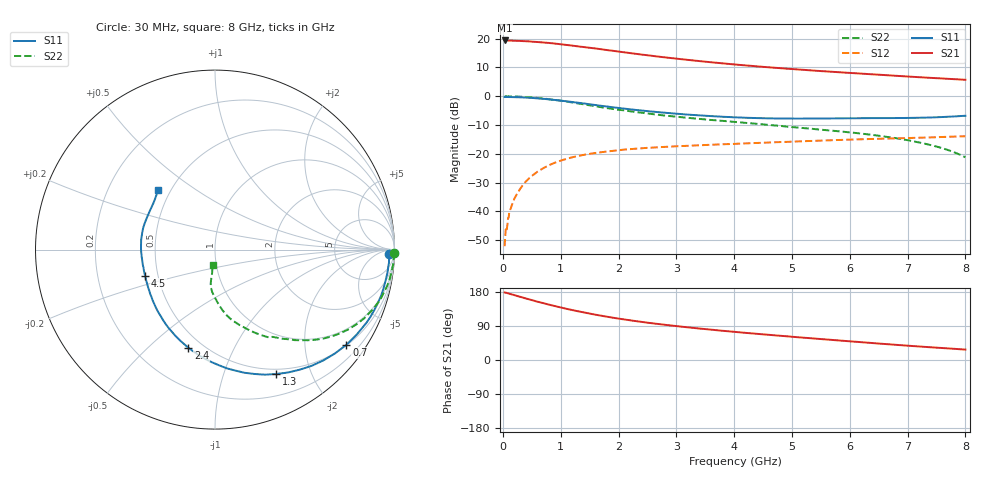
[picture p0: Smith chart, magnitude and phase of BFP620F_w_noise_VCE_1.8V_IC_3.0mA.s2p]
! Infineon Technologies  Discrete & RF Semiconductors
! BFP620F
! VCE =  1.8 V,  IC =  3.0 mA
! Common Emitter S-Parameters:  Dec 2014
# GHz  S  MA  R  50
!  f  S11  S21  S12  S22
! GHz  MAG  ANG  MAG  ANG  MAG  ANG  MAG  ANG
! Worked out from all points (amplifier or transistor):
!   95 points, 30 MHz to 8 GHz, reference 50 ohm
!   highest |S21| = 19.4 dB at 30 MHz (marker M1)
!   |S21| within 3 dB of that: start of sweep to 1.681 GHz
!   unconditionally stable (mu >= 1): 6.053 GHz to end of sweep
!   at 300 MHz: K = 0.03, MSG = 25.7 dB, |S12| = -32.1 dB
!   at 3.3 GHz: K = 0.69, MSG = 14.8 dB, |S12| = -17.1 dB
!   at 8 GHz: K = 1.15, MAG = 7.4 dB, |S12| = -13.9 dB
!   lowest NFmin = 0.51 dB at 450 MHz
!   S11 on the Smith chart (normalised r, x): 30 MHz: 38, -34; 700 MHz: 0.52, -3.01; 1.3 GHz: 0.44, -1.52; 2.4 GHz: 0.42, -0.68; 4.5 GHz: 0.42, -0.15; 8 GHz: 0.43, +0.36
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0.03  0.9714 -1.5  9.318 178.2  0.0025 80.9  0.9985 -1.1
0.04  0.9723 -2.0  9.211 177.8  0.0036 84.7  0.9979 -1.5
0.05  0.9738 -2.6  9.252 177.5  0.0049 103.5  0.9984 -1.7
0.06  0.9716 -3.1  9.248 177.3  0.0045 74.4  0.9976 -2.1
0.11  0.9697 -5.7  9.297 174.9  0.0097 82.4  0.9961 -4.0
0.2  0.966 -10.4  9.226 171.1  0.0168 83.9  0.9914 -7.3
0.45  0.9438 -23.3  8.98 160.2  0.0373 77.4  0.9642 -16.2
0.7  0.904 -35.9  8.586 150.0  0.0565 69.9  0.9147 -24.8
0.8  0.884 -40.9  8.428 146.0  0.0638 67.0  0.8898 -28.0
1  0.8415 -50.4  8.01 138.7  0.0763 61.6  0.8375 -33.9
1.3  0.7728 -63.7  7.351 128.6  0.0919 54.6  0.752 -41.9
1.4  0.751 -68.1  7.153 125.6  0.0962 52.6  0.7245 -44.2
1.6  0.7053 -76.6  6.769 119.6  0.1037 48.9  0.6714 -48.7
1.9  0.6445 -88.1  6.171 111.7  0.1129 44.2  0.6031 -54.6
2.4  0.5668 -105.2  5.299 100.5  0.1251 38.1  0.5185 -63.9
2.7  0.5292 -114.5  4.873 94.8  0.1306 35.4  0.4764 -68.1
3.4  0.4668 -133.6  4.083 83.0  0.141 30.7  0.4048 -76.3
4.1  0.4284 -150.4  3.501 73.0  0.1507 27.4  0.3528 -81.7
4.5  0.4162 -159.4  3.243 67.7  0.1562 25.8  0.3254 -84.3
5.4  0.4113 -177.9  2.786 56.5  0.1687 22.4  0.2692 -90.0
6.7  0.4184 157.1  2.303 41.2  0.185 17.3  0.1937 -97.1
8  0.4594 133.8  1.936 27.5  0.2027 13.1  0.0873 -99.1
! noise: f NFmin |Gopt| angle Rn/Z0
0.45  0.51  0.54  10  0.3
0.9  0.6  0.52  20  0.26
1.5  0.69  0.47  29  0.25
1.8  0.73  0.45  32  0.25
1.9  0.74  0.4  43  0.26
2.4  0.81  0.37  57  0.24
3.5  0.96  0.35  80  0.18
5.5  1.2  0.23  149  0.15
6  1.26  0.19  163  0.29
